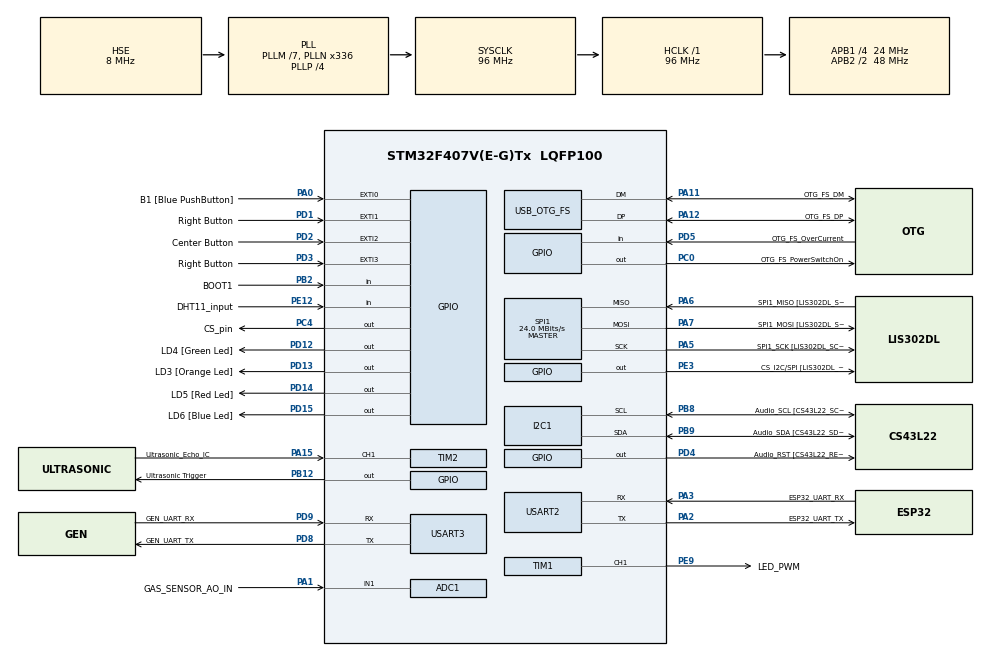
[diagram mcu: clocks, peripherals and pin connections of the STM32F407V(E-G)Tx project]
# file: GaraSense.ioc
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ADC1.Channel-0\#ChannelRegularConversion=ADC_CHANNEL_1
ADC1.NbrOfConversionFlag=1
ADC1.Rank-0\#ChannelRegularConversion=1
ADC1.SamplingTime-0\#ChannelRegularConversion=ADC_SAMPLETIME_3CYCLES
ADC1.master=1
Dma.ADC1.0.Direction=DMA_PERIPH_TO_MEMORY
Dma.ADC1.0.FIFOMode=DMA_FIFOMODE_DISABLE
Dma.ADC1.0.Instance=DMA2_Stream0
Dma.ADC1.0.MemDataAlignment=DMA_MDATAALIGN_HALFWORD
Dma.ADC1.0.MemInc=DMA_MINC_ENABLE
Dma.ADC1.0.Mode=DMA_NORMAL
Dma.ADC1.0.PeriphDataAlignment=DMA_PDATAALIGN_HALFWORD
Dma.ADC1.0.PeriphInc=DMA_PINC_DISABLE
Dma.ADC1.0.Priority=DMA_PRIORITY_LOW
Dma.Request0=ADC1
Dma.Request1=USART3_TX
Dma.Request2=TIM1_CH1
Dma.TIM1_CH1.2.Direction=DMA_MEMORY_TO_PERIPH
Dma.TIM1_CH1.2.FIFOMode=DMA_FIFOMODE_DISABLE
Dma.TIM1_CH1.2.Instance=DMA2_Stream1
Dma.TIM1_CH1.2.MemDataAlignment=DMA_MDATAALIGN_HALFWORD
Dma.TIM1_CH1.2.MemInc=DMA_MINC_ENABLE
Dma.TIM1_CH1.2.Mode=DMA_NORMAL
Dma.TIM1_CH1.2.PeriphDataAlignment=DMA_PDATAALIGN_HALFWORD
Dma.TIM1_CH1.2.PeriphInc=DMA_PINC_DISABLE
Dma.TIM1_CH1.2.Priority=DMA_PRIORITY_MEDIUM
Dma.USART3_TX.1.Direction=DMA_MEMORY_TO_PERIPH
Dma.USART3_TX.1.FIFOMode=DMA_FIFOMODE_DISABLE
Dma.USART3_TX.1.Instance=DMA1_Stream3
Dma.USART3_TX.1.MemDataAlignment=DMA_MDATAALIGN_BYTE
Dma.USART3_TX.1.MemInc=DMA_MINC_ENABLE
Dma.USART3_TX.1.Mode=DMA_NORMAL
Dma.USART3_TX.1.PeriphDataAlignment=DMA_PDATAALIGN_BYTE
Dma.USART3_TX.1.PeriphInc=DMA_PINC_DISABLE
Dma.USART3_TX.1.Priority=DMA_PRIORITY_LOW
FATFS._MAX_SS=4096
FATFS._USE_LFN=3
FREERTOS.Queues01=DistanceQueue,16,Event,0,Static,DistanceQueueBuffer,DistanceQueueControlBlock;EnvMonitorQueue,16,Event,0,Static,EnvMonitorQueueBuffer,EnvMonitorQueueControlBlock;DataLoggerQueue,20,Event,0,Static,DataLoggerQueueBuffer,DataLoggerQueueControlBlock;DisplayQueue,30,Event,0,Static,DisplayQueueBuffer,DisplayQueueControlBlock;BrokerQueue,30,Event,0,Static,BrokerQueueBuffer,BrokerQueueControlBlock
FREERTOS.Tasks01=DistanceSensor,24,1024,StartDistanceSensor,Default,NULL,Static,DistanceSensorBuffer,DistanceSensorControlBlock;EnvMonitor,24,256,StartEnvMonitor,Default,NULL,Static,EnvMonitorBuffer,EnvMonitorControlBlock;DataLogger,24,1024,StartDataLogger,Default,NULL,Static,DataLoggerBuffer,DataLoggerControlBlock;Display,24,512,StartDisplay,Default,NULL,Static,DisplayBuffer,DisplayControlBlock;Broker,24,256,StartBroker,Default,NULL,Static,BrokerBuffer,BrokerControlBlock;Sysmonitor,24,128,StartMonitor,Default,NULL,Dynamic,NULL,NULL
FREERTOS.Timers01=logTimer,LogTimerCallback,osTimerPeriodic,Default,NULL,Dynamic,NULL;deleteTimer,DeleteLogCallback,osTimerPeriodic,Default,NULL,Dynamic,NULL;readEnvTimer,readEnvTimerCallback,osTimerPeriodic,Default,NULL,Dynamic,NULL;updateDisplayTimer,updateDisplayTimerCallback,osTimerPeriodic,Default,NULL,Dynamic,NULL
Mcu.Family=STM32F4
Mcu.Name=STM32F407V(E-G)Tx
Mcu.Package=LQFP100
NVIC.DMA1_Stream3_IRQn=true\:5\:0\:false\:false\:true\:true\:false\:true\:true
NVIC.DMA2_Stream0_IRQn=true\:5\:0\:false\:false\:true\:true\:false\:true\:true
NVIC.DMA2_Stream1_IRQn=true\:5\:0\:false\:false\:true\:true\:false\:true\:true
NVIC.EXTI1_IRQn=true\:5\:0\:false\:false\:true\:true\:true\:true\:true
NVIC.EXTI2_IRQn=true\:5\:0\:false\:false\:true\:true\:true\:true\:true
NVIC.EXTI3_IRQn=true\:5\:0\:false\:false\:true\:true\:true\:true\:true
NVIC.OTG_FS_IRQn=true\:5\:0\:false\:false\:true\:true\:false\:true\:true
NVIC.PriorityGroup=NVIC_PRIORITYGROUP_4
NVIC.TIM2_IRQn=true\:5\:0\:false\:false\:true\:true\:true\:true\:true
NVIC.TIM3_IRQn=true\:5\:0\:false\:false\:true\:true\:true\:true\:true
NVIC.USART3_IRQn=true\:5\:0\:false\:false\:true\:true\:true\:true\:true
PA0-WKUP.GPIO_Label=B1 [Blue PushButton]
PA0-WKUP.Signal=GPXTI0
PA1.GPIO_Label=GAS_SENSOR_AO_IN
PA1.Signal=ADCx_IN1
PA10.GPIO_Label=OTG_FS_ID
PA10.GPIO_Mode=GPIO_MODE_AF_PP
PA10.GPIO_PuPd=GPIO_NOPULL
PA10.GPIO_Speed=GPIO_SPEED_FREQ_LOW
PA10.Signal=USB_OTG_FS_ID
PA11.GPIO_Label=OTG_FS_DM
PA11.GPIO_Mode=GPIO_MODE_AF_PP
PA11.GPIO_PuPd=GPIO_NOPULL
PA11.GPIO_Speed=GPIO_SPEED_FREQ_LOW
PA11.Mode=Device_Only
PA11.Signal=USB_OTG_FS_DM
PA12.GPIO_Label=OTG_FS_DP
PA12.GPIO_Mode=GPIO_MODE_AF_PP
PA12.GPIO_PuPd=GPIO_NOPULL
PA12.GPIO_Speed=GPIO_SPEED_FREQ_LOW
PA12.Mode=Device_Only
PA12.Signal=USB_OTG_FS_DP
PA13.GPIO_Label=SWDIO
PA13.Mode=Trace_Asynchronous_SW
PA13.Signal=SYS_JTMS-SWDIO
PA14.GPIO_Label=SWCLK
PA14.Mode=Trace_Asynchronous_SW
PA14.Signal=SYS_JTCK-SWCLK
PA15.GPIO_Label=Ultrasonic_Echo_IC
PA15.Signal=S_TIM2_CH1_ETR
PA2.GPIO_Label=ESP32_UART_TX
PA2.Mode=Asynchronous
PA2.Signal=USART2_TX
PA3.GPIO_Label=ESP32_UART_RX
PA3.Mode=Asynchronous
PA3.Signal=USART2_RX
PA4.GPIO_Label=I2S3_WS [CS43L22_LRCK]
PA4.GPIO_Mode=GPIO_MODE_AF_PP
PA4.GPIO_PuPd=GPIO_NOPULL
PA4.GPIO_Speed=GPIO_SPEED_FREQ_LOW
PA4.Signal=I2S3_WS
PA5.GPIO_Label=SPI1_SCK [LIS302DL_SCL/SPC]
PA5.GPIO_Mode=GPIO_MODE_AF_PP
PA5.GPIO_PuPd=GPIO_NOPULL
PA5.GPIO_Speed=GPIO_SPEED_FREQ_LOW
PA5.Mode=Full_Duplex_Master
PA5.Signal=SPI1_SCK
PA6.GPIO_Label=SPI1_MISO [LIS302DL_SDO]
PA6.GPIO_Mode=GPIO_MODE_AF_PP
PA6.GPIO_PuPd=GPIO_NOPULL
PA6.GPIO_Speed=GPIO_SPEED_FREQ_LOW
PA6.Mode=Full_Duplex_Master
PA6.Signal=SPI1_MISO
PA7.GPIO_Label=SPI1_MOSI [LIS302DL_SDA/SDI/SDO]
PA7.GPIO_Mode=GPIO_MODE_AF_PP
PA7.GPIO_PuPd=GPIO_NOPULL
PA7.GPIO_Speed=GPIO_SPEED_FREQ_LOW
PA7.Mode=Full_Duplex_Master
PA7.Signal=SPI1_MOSI
PA9.GPIO_Label=VBUS_FS
PA9.GPIO_Mode=GPIO_MODE_INPUT
PA9.GPIO_PuPd=GPIO_NOPULL
PA9.Signal=USB_OTG_FS_VBUS
PB10.GPIO_Label=CLK_IN [MP45DT02_CLK]
PB10.GPIO_Mode=GPIO_MODE_AF_PP
PB10.GPIO_PuPd=GPIO_NOPULL
PB10.GPIO_Speed=GPIO_SPEED_FREQ_LOW
PB10.Signal=I2S2_CK
PB12.GPIO_Label=Ultrasonic Trigger
PB12.Signal=GPIO_Output
PB2.GPIO_Label=BOOT1
PB2.GPIO_Mode=GPIO_MODE_INPUT
PB2.GPIO_PuPd=GPIO_NOPULL
PB2.Signal=GPIO_Input
PB3.GPIO_Label=SWO
PB3.Mode=Trace_Asynchronous_SW
PB3.Signal=SYS_JTDO-SWO
PB8.GPIO_Label=Audio_SCL [CS43L22_SCL]
PB8.GPIO_Mode=GPIO_MODE_AF_OD
PB8.GPIO_Speed=GPIO_SPEED_FREQ_LOW
PB8.Mode=I2C
PB8.Signal=I2C1_SCL
PB9.GPIO_Label=Audio_SDA [CS43L22_SDA]
PB9.GPIO_Mode=GPIO_MODE_AF_OD
PB9.GPIO_Speed=GPIO_SPEED_FREQ_LOW
PB9.Mode=I2C
PB9.Signal=I2C1_SDA
PC0.GPIO_Label=OTG_FS_PowerSwitchOn
PC0.GPIO_PuPd=GPIO_NOPULL
PC0.GPIO_Speed=GPIO_SPEED_FREQ_LOW
PC0.PinState=GPIO_PIN_SET
PC0.Signal=GPIO_Output
PC10.GPIO_Label=I2S3_SCK [CS43L22_SCLK]
PC10.GPIO_Mode=GPIO_MODE_AF_PP
PC10.GPIO_PuPd=GPIO_NOPULL
PC10.GPIO_Speed=GPIO_SPEED_FREQ_LOW
PC10.Signal=I2S3_CK
PC12.GPIO_Label=I2S3_SD [CS43L22_SDIN]
PC12.GPIO_Mode=GPIO_MODE_AF_PP
PC12.GPIO_PuPd=GPIO_NOPULL
PC12.GPIO_Speed=GPIO_SPEED_FREQ_LOW
PC12.Signal=I2S3_SD
PC14-OSC32_IN.GPIO_Label=PC14-OSC32_IN
PC14-OSC32_IN.Signal=RCC_OSC32_IN
PC15-OSC32_OUT.GPIO_Label=PC15-OSC32_OUT
PC15-OSC32_OUT.Signal=RCC_OSC32_OUT
PC3.GPIO_Label=PDM_OUT [MP45DT02_DOUT]
PC3.GPIO_Mode=GPIO_MODE_AF_PP
PC3.GPIO_PuPd=GPIO_NOPULL
PC3.GPIO_Speed=GPIO_SPEED_FREQ_LOW
PC3.Signal=I2S2_SD
PC4.GPIO_Label=CS_pin
PC4.Signal=GPIO_Output
PC7.GPIO_Label=I2S3_MCK [CS43L22_MCLK]
PC7.GPIO_Mode=GPIO_MODE_AF_PP
PC7.GPIO_PuPd=GPIO_NOPULL
PC7.GPIO_Speed=GPIO_SPEED_FREQ_LOW
PC7.Signal=I2S3_MCK
PD1.GPIO_Label=Right Button
PD1.GPIO_PuPd=GPIO_PULLUP
PD1.Signal=GPXTI1
PD12.GPIO_Label=LD4 [Green Led]
PD12.GPIO_PuPd=GPIO_NOPULL
PD12.GPIO_Speed=GPIO_SPEED_FREQ_LOW
PD12.Signal=GPIO_Output
PD13.GPIO_Label=LD3 [Orange Led]
PD13.GPIO_PuPd=GPIO_NOPULL
PD13.GPIO_Speed=GPIO_SPEED_FREQ_LOW
PD13.Signal=GPIO_Output
PD14.GPIO_Label=LD5 [Red Led]
PD14.GPIO_PuPd=GPIO_NOPULL
PD14.GPIO_Speed=GPIO_SPEED_FREQ_LOW
PD14.Signal=GPIO_Output
PD15.GPIO_Label=LD6 [Blue Led]
PD15.GPIO_PuPd=GPIO_NOPULL
PD15.GPIO_Speed=GPIO_SPEED_FREQ_LOW
PD15.Signal=GPIO_Output
PD2.GPIO_Label=Center Button
PD2.GPIO_PuPd=GPIO_PULLUP
PD2.Signal=GPXTI2
PD3.GPIO_Label=Right Button
PD3.GPIO_PuPd=GPIO_PULLUP
PD3.Signal=GPXTI3
PD4.GPIO_Label=Audio_RST [CS43L22_RESET]
PD4.GPIO_PuPd=GPIO_NOPULL
PD4.GPIO_Speed=GPIO_SPEED_FREQ_LOW
PD4.Signal=GPIO_Output
PD5.GPIO_Label=OTG_FS_OverCurrent
PD5.GPIO_Mode=GPIO_MODE_INPUT
PD5.GPIO_PuPd=GPIO_NOPULL
PD5.Signal=GPIO_Input
PD8.GPIO_Label=GEN_UART_TX
PD8.Mode=Asynchronous
PD8.Signal=USART3_TX
PD9.GPIO_Label=GEN_UART_RX
PD9.Mode=Asynchronous
PD9.Signal=USART3_RX
PE12.GPIO_Label=DHT11_input
PE12.Signal=GPIO_Input
PE3.GPIO_Label=CS_I2C/SPI [LIS302DL_CS_I2C/SPI]
PE3.GPIO_PuPd=GPIO_NOPULL
PE3.GPIO_Speed=GPIO_SPEED_FREQ_LOW
PE3.Signal=GPIO_Output
PE9.GPIO_Label=LED_PWM
PE9.Signal=S_TIM1_CH1
PH0-OSC_IN.GPIO_Label=PH0-OSC_IN
PH0-OSC_IN.Mode=HSE-External-Oscillator
PH0-OSC_IN.Signal=RCC_OSC_IN
PH1-OSC_OUT.GPIO_Label=PH1-OSC_OUT
PH1-OSC_OUT.Mode=HSE-External-Oscillator
PH1-OSC_OUT.Signal=RCC_OSC_OUT
ProjectManager.HeapSize=0x200
ProjectManager.StackSize=0x400
ProjectManager.TargetToolchain=STM32CubeIDE
RCC.48MHZClocksFreq_Value=48000000.00000001
RCC.AHBFreq_Value=96000000.00000001
RCC.APB1CLKDivider=RCC_HCLK_DIV4
RCC.APB1Freq_Value=24000000.000000004
RCC.APB1TimFreq_Value=48000000.00000001
RCC.APB2CLKDivider=RCC_HCLK_DIV2
RCC.APB2Freq_Value=48000000.00000001
RCC.APB2TimFreq_Value=96000000.00000001
RCC.CortexFreq_Value=96000000.00000001
RCC.HCLKFreq_Value=96000000.00000001
RCC.HSE_VALUE=8000000
RCC.HSI_VALUE=16000000
RCC.LSE_VALUE=32768
RCC.PLLM=7
RCC.PLLN=336
RCC.PLLP=RCC_PLLP_DIV4
RCC.PLLQ=8
RCC.SYSCLKFreq_VALUE=96000000.00000001
RCC.SYSCLKSource=RCC_SYSCLKSOURCE_PLLCLK
RCC.VCOOutputFreq_Value=384000000.00000006
SH.ADCx_IN1.0=ADC1_IN1,IN1
SH.S_TIM1_CH1.0=TIM1_CH1,PWM Generation1 CH1
SH.S_TIM2_CH1_ETR.0=TIM2_CH1,Input_Capture1_from_TI1
SPI1.CalculateBaudRate=24.0 MBits/s
SPI1.Direction=SPI_DIRECTION_2LINES
SPI1.Mode=SPI_MODE_MASTER
SPI1.VirtualType=VM_MASTER
TIM1.AutoReloadPreload=TIM_AUTORELOAD_PRELOAD_ENABLE
TIM1.Channel-PWM\ Generation1\ CH1=TIM_CHANNEL_1
TIM1.Period=124
TIM2.Channel-Input_Capture1_from_TI1=TIM_CHANNEL_1
TIM2.Period=65535
TIM3.Period=49999
TIM3.Prescaler=49
USART2.VirtualMode=VM_ASYNC
USART3.VirtualMode=VM_ASYNC
USB_DEVICE.CLASS_NAME_FS=CDC
USB_DEVICE.VirtualMode-CDC_FS=Cdc
USB_DEVICE.VirtualModeFS=Cdc_FS
USB_OTG_FS.VirtualMode=Device_Only
VP_FATFS_VS_Generic.Mode=User_defined
VP_FREERTOS_VS_CMSIS_V2.Mode=CMSIS_V2
VP_TIM2_VS_ClockSourceINT.Mode=Internal
VP_TIM3_VS_ClockSourceINT.Mode=Internal
VP_USB_DEVICE_VS_USB_DEVICE_CDC_FS.Mode=CDC_FS
board=STM32F407G-DISC1

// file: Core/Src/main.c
/* USER CODE BEGIN Header */
/**
  ******************************************************************************
  * @file           : main.c
  * @brief          : Main program body
  ******************************************************************************
  * @attention
  *
  * Copyright (c) 2025 STMicroelectronics.
  * All rights reserved.
  *
  * This software is licensed under terms that can be found in the LICENSE file
  * in the root directory of this software component.
  * If no LICENSE file comes with this software, it is provided AS-IS.
  *
  ******************************************************************************
  */
/* USER CODE END Header */
#include "main.h"
#include "cmsis_os.h"
#include "fatfs.h"
#include "usb_device.h"

/* USER CODE BEGIN Includes */
#include "../../Application/Inc/ao.h"
#include "../../Application/Inc/ao_broker.h"
#include "../../Application/Inc/ao_display.h"
#include "../../Application/Inc/ao_distance.h"
#include "../../Application/Inc/ao_env.h"
#include "../../Application/Inc/ao_logger.h"
/* USER CODE END Includes */

typedef StaticTask_t osStaticThreadDef_t;
typedef StaticQueue_t osStaticMessageQDef_t;

/* USER CODE BEGIN PD */
#define DEBOUNCE_MS 20
/* USER CODE END PD */

ADC_HandleTypeDef hadc1;
DMA_HandleTypeDef hdma_adc1;

I2C_HandleTypeDef hi2c1;

SPI_HandleTypeDef hspi1;

TIM_HandleTypeDef htim1;
TIM_HandleTypeDef htim2;
TIM_HandleTypeDef htim3;
DMA_HandleTypeDef hdma_tim1_ch1;

UART_HandleTypeDef huart2;
UART_HandleTypeDef huart3;
DMA_HandleTypeDef hdma_usart3_tx;

/* Definitions for DistanceSensor */
osThreadId_t DistanceSensorHandle;
uint32_t DistanceSensorBuffer[ 1024 ];
osStaticThreadDef_t DistanceSensorControlBlock;
const osThreadAttr_t DistanceSensor_attributes = {
  .name = "DistanceSensor",
  .cb_mem = &DistanceSensorControlBlock,
  .cb_size = sizeof(DistanceSensorControlBlock),
  .stack_mem = &DistanceSensorBuffer[0],
  .stack_size = sizeof(DistanceSensorBuffer),
  .priority = (osPriority_t) osPriorityNormal,
};
/* Definitions for EnvMonitor */
osThreadId_t EnvMonitorHandle;
uint32_t EnvMonitorBuffer[ 256 ];
osStaticThreadDef_t EnvMonitorControlBlock;
const osThreadAttr_t EnvMonitor_attributes = {
  .name = "EnvMonitor",
  .cb_mem = &EnvMonitorControlBlock,
  .cb_size = sizeof(EnvMonitorControlBlock),
  .stack_mem = &EnvMonitorBuffer[0],
  .stack_size = sizeof(EnvMonitorBuffer),
  .priority = (osPriority_t) osPriorityNormal,
};
/* Definitions for DataLogger */
osThreadId_t DataLoggerHandle;
uint32_t DataLoggerBuffer[ 1024 ];
osStaticThreadDef_t DataLoggerControlBlock;
const osThreadAttr_t DataLogger_attributes = {
  .name = "DataLogger",
  .cb_mem = &DataLoggerControlBlock,
  .cb_size = sizeof(DataLoggerControlBlock),
  .stack_mem = &DataLoggerBuffer[0],
  .stack_size = sizeof(DataLoggerBuffer),
  .priority = (osPriority_t) osPriorityNormal,
};
/* Definitions for Display */
osThreadId_t DisplayHandle;
uint32_t DisplayBuffer[ 512 ];
osStaticThreadDef_t DisplayControlBlock;
const osThreadAttr_t Display_attributes = {
  .name = "Display",
  .cb_mem = &DisplayControlBlock,
  .cb_size = sizeof(DisplayControlBlock),
  .stack_mem = &DisplayBuffer[0],
  .stack_size = sizeof(DisplayBuffer),
  .priority = (osPriority_t) osPriorityNormal,
};
/* Definitions for Broker */
osThreadId_t BrokerHandle;
uint32_t BrokerBuffer[ 256 ];
osStaticThreadDef_t BrokerControlBlock;
const osThreadAttr_t Broker_attributes = {
  .name = "Broker",
  .cb_mem = &BrokerControlBlock,
  .cb_size = sizeof(BrokerControlBlock),
  .stack_mem = &BrokerBuffer[0],
  .stack_size = sizeof(BrokerBuffer),
  .priority = (osPriority_t) osPriorityNormal,
};
/* Definitions for Sysmonitor */
osThreadId_t SysmonitorHandle;
const osThreadAttr_t Sysmonitor_attributes = {
  .name = "Sysmonitor",
  .stack_size = 128 * 4,
  .priority = (osPriority_t) osPriorityNormal,
};
/* Definitions for DistanceQueue */
osMessageQueueId_t DistanceQueueHandle;
uint8_t DistanceQueueBuffer[ 16 * sizeof( Event ) ];
osStaticMessageQDef_t DistanceQueueControlBlock;
const osMessageQueueAttr_t DistanceQueue_attributes = {
  .name = "DistanceQueue",
  .cb_mem = &DistanceQueueControlBlock,
  .cb_size = sizeof(DistanceQueueControlBlock),
  .mq_mem = &DistanceQueueBuffer,
  .mq_size = sizeof(DistanceQueueBuffer)
};
/* Definitions for EnvMonitorQueue */
osMessageQueueId_t EnvMonitorQueueHandle;
uint8_t EnvMonitorQueueBuffer[ 16 * sizeof( Event ) ];
osStaticMessageQDef_t EnvMonitorQueueControlBlock;
const osMessageQueueAttr_t EnvMonitorQueue_attributes = {
  .name = "EnvMonitorQueue",
  .cb_mem = &EnvMonitorQueueControlBlock,
  .cb_size = sizeof(EnvMonitorQueueControlBlock),
  .mq_mem = &EnvMonitorQueueBuffer,
  .mq_size = sizeof(EnvMonitorQueueBuffer)
};
/* Definitions for DataLoggerQueue */
osMessageQueueId_t DataLoggerQueueHandle;
uint8_t DataLoggerQueueBuffer[ 20 * sizeof( Event ) ];
osStaticMessageQDef_t DataLoggerQueueControlBlock;
const osMessageQueueAttr_t DataLoggerQueue_attributes = {
  .name = "DataLoggerQueue",
  .cb_mem = &DataLoggerQueueControlBlock,
  .cb_size = sizeof(DataLoggerQueueControlBlock),
  .mq_mem = &DataLoggerQueueBuffer,
  .mq_size = sizeof(DataLoggerQueueBuffer)
};
/* Definitions for DisplayQueue */
osMessageQueueId_t DisplayQueueHandle;
uint8_t DisplayQueueBuffer[ 30 * sizeof( Event ) ];
osStaticMessageQDef_t DisplayQueueControlBlock;
const osMessageQueueAttr_t DisplayQueue_attributes = {
  .name = "DisplayQueue",
  .cb_mem = &DisplayQueueControlBlock,
  .cb_size = sizeof(DisplayQueueControlBlock),
  .mq_mem = &DisplayQueueBuffer,
  .mq_size = sizeof(DisplayQueueBuffer)
};
/* Definitions for BrokerQueue */
osMessageQueueId_t BrokerQueueHandle;
uint8_t BrokerQueueBuffer[ 30 * sizeof( Event ) ];
osStaticMessageQDef_t BrokerQueueControlBlock;
const osMessageQueueAttr_t BrokerQueue_attributes = {
  .name = "BrokerQueue",
  .cb_mem = &BrokerQueueControlBlock,
  .cb_size = sizeof(BrokerQueueControlBlock),
  .mq_mem = &BrokerQueueBuffer,
  .mq_size = sizeof(BrokerQueueBuffer)
};
/* Definitions for logTimer */
osTimerId_t logTimerHandle;
const osTimerAttr_t logTimer_attributes = {
  .name = "logTimer"
};
/* Definitions for deleteTimer */
osTimerId_t deleteTimerHandle;
const osTimerAttr_t deleteTimer_attributes = {
  .name = "deleteTimer"
};
/* Definitions for readEnvTimer */
osTimerId_t readEnvTimerHandle;
const osTimerAttr_t readEnvTimer_attributes = {
  .name = "readEnvTimer"
};
/* Definitions for updateDisplayTimer */
osTimerId_t updateDisplayTimerHandle;
const osTimerAttr_t updateDisplayTimer_attributes = {
  .name = "updateDisplayTimer"
};

void SystemClock_Config(void);
static void MX_GPIO_Init(void);
static void MX_DMA_Init(void);
static void MX_ADC1_Init(void);
static void MX_I2C1_Init(void);
static void MX_USART3_UART_Init(void);
static void MX_TIM1_Init(void);
static void MX_TIM2_Init(void);
static void MX_SPI1_Init(void);
static void MX_TIM3_Init(void);
static void MX_USART2_UART_Init(void);
void StartDistanceSensor(void *argument);
void StartEnvMonitor(void *argument);
void StartDataLogger(void *argument);
void StartDisplay(void *argument);
void StartBroker(void *argument);
void StartMonitor(void *argument);
void LogTimerCallback(void *argument);
void DeleteLogCallback(void *argument);
void readEnvTimerCallback(void *argument);
void updateDisplayTimerCallback(void *argument);

/* USER CODE BEGIN 0 */

char TxBuffer[TX_BUFFER_SIZE];
volatile uint8_t tx_busy = 0;

static uint32_t last_press_ms = 0;

Broker broker;
Display display;
DistanceSensor distance;
EnvMonitor envmonitor;
DataLogger logger;

void HAL_UART_TxCpltCallback(UART_HandleTypeDef *huart)
{
    if (huart->Instance == USART3)
    {
    	tx_busy = 0;
    }
}

void HAL_SPI_TxCpltCallback(SPI_HandleTypeDef *hspi){
	HAL_SPI_DMAStop(hspi);
}

void HAL_GPIO_EXTI_Callback(uint16_t GPIO_Pin){
	uint32_t now = osKernelGetTickCount();

	if((now - last_press_ms) >= DEBOUNCE_MS){
		last_press_ms = now;
		Event buttonEvt;
		switch(GPIO_Pin){
			case Right_Button_Pin:
				if (HAL_GPIO_ReadPin(GPIOD, GPIO_Pin) == GPIO_PIN_RESET) {
					buttonEvt.eventsig = RIGHT_BUTTON_EVT;
					buttonEvt.dest = DISPLAY;
				}

				break;
			case Right_ButtonD3_Pin:
				if (HAL_GPIO_ReadPin(GPIOD, GPIO_Pin) == GPIO_PIN_RESET) {
					buttonEvt.eventsig = LEFT_BUTTON_EVT;
					buttonEvt.dest     = DISPLAY;
				//left
				}
				break;
			case Center_Button_Pin:
				if (HAL_GPIO_ReadPin(GPIOD, GPIO_Pin) == GPIO_PIN_RESET) {
					buttonEvt.eventsig = CONFIRM_BUTTON_EVT;
					buttonEvt.dest     = DISPLAY;
				}
				break;
			default:
				return;
		}
		Active_post(&broker.super, &buttonEvt);
	}

}

void HAL_TIM_IC_CaptureCallback(TIM_HandleTypeDef *htim){
	if (htim->Instance == TIM2){
      HCSR04_TMR_IC_ISR(htim);
      Event distEvt = {.eventsig = UPDATE_LED, .dest = DIST_SENSOR};
      Active_post(&broker.super, &distEvt);
	 }
  }

void HAL_TIM_PeriodElapsedCallback(TIM_HandleTypeDef* htim){
	 if (htim->Instance == TIM2) {
	        HCSR04_TMR_OVF_ISR(htim);
	} else if (htim->Instance == TIM3) {
		HCSR04_Trigger(HCSR04_SENSOR1);
	}

}

void HAL_TIM_PWM_PulseFinishedCallback(TIM_HandleTypeDef *htim)
{
    if (htim->Instance == TIM1) {
        HAL_TIM_PWM_Stop_DMA(htim, TIM_CHANNEL_1);
    }
}

void HAL_ADC_ConvCpltCallback(ADC_HandleTypeDef* hadc)
{
	 if (hadc->Instance == ADC1)
	    {
		 MQ135_AverageRaw();

	        // Stop DMA after one block
	        HAL_ADC_Stop_DMA(hadc);
	    }
}

///* LogTimerCallback function */
//void LogTimerCallback(void *argument)
//{
//	Event envEvt = {.eventsig = SENSOR_TIMER, .dest = ENV_MONITOR};
//	Active_post(&broker.super, &envEvt);
//	Event tempEvt = {.eventsig = SENSOR_TIMER, .dest = DIST_SENSOR};
//	Active_post(&broker.super, &tempEvt);
//}
//
///* DeleteLogCallback function */
//void DeleteLogCallback(void *argument)
//{
//	Event e = {.eventsig = DELETE_LOG, .dest = DATA_LOGGER};
//	Active_post(&broker.super, &e);
//}

/* readEnvTimerCallback function */
void readEnvTimerCallback(void *argument)
{

	Event tempEvt = {.eventsig = TEMP_REQ, .dest = ENV_MONITOR};
	Active_post(&broker.super, &tempEvt);
	Event ppmEvt = {.eventsig = PPM_REQ, .dest = ENV_MONITOR};
	Active_post(&broker.super, &ppmEvt);

}

/* updateDisplayTimerCallback function */
void updateDisplayTimerCallback(void *argument)
{
	Event distEvt = {.eventsig = DIST_REQ, .dest = DIST_SENSOR};
	Active_post(&broker.super, &distEvt);
}

static void App_TimerInit(osTimerId_t timerHandle,uint32_t ticks){
	osTimerStart(timerHandle,ticks);
}

/* USER CODE END 0 */

int main(void)
{

  /* MCU Configuration--------------------------------------------------------*/

  /* Reset of all peripherals, Initializes the Flash interface and the Systick. */
  HAL_Init();

  /* Configure the system clock */
  SystemClock_Config();

  /* Initialize all configured peripherals */
  MX_GPIO_Init();
  MX_DMA_Init();
  MX_ADC1_Init();
  MX_I2C1_Init();
  MX_USART3_UART_Init();
  MX_TIM1_Init();
  MX_TIM2_Init();
  MX_SPI1_Init();
  MX_FATFS_Init();
  MX_TIM3_Init();
  MX_USART2_UART_Init();
  /* USER CODE BEGIN 2 */

  HAL_TIM_Base_Start_IT(&htim3);

  /* USER CODE END 2 */

  /* Init scheduler */
  osKernelInitialize();

  /* Create the timer(s) */
  /* creation of logTimer */
//  logTimerHandle = osTimerNew(LogTimerCallback, osTimerPeriodic, NULL, &logTimer_attributes);

  /* creation of deleteTimer */
//  deleteTimerHandle = osTimerNew(DeleteLogCallback, osTimerPeriodic, NULL, &deleteTimer_attributes);

  /* creation of readEnvTimer */
  readEnvTimerHandle = osTimerNew(readEnvTimerCallback, osTimerPeriodic, NULL, &readEnvTimer_attributes);

  /* creation of updateDisplayTimer */
  updateDisplayTimerHandle = osTimerNew(updateDisplayTimerCallback, osTimerPeriodic, NULL, &updateDisplayTimer_attributes);

  /* Create the queue(s) */
  /* creation of DistanceQueue */
  DistanceQueueHandle = osMessageQueueNew (16, sizeof(Event), &DistanceQueue_attributes);

  /* creation of EnvMonitorQueue */
  EnvMonitorQueueHandle = osMessageQueueNew (16, sizeof(Event), &EnvMonitorQueue_attributes);

  /* creation of DataLoggerQueue */
//  DataLoggerQueueHandle = osMessageQueueNew (20, sizeof(Event), &DataLoggerQueue_attributes);

  /* creation of DisplayQueue */
  DisplayQueueHandle = osMessageQueueNew (30, sizeof(Event), &DisplayQueue_attributes);

  /* creation of BrokerQueue */
  BrokerQueueHandle = osMessageQueueNew (30, sizeof(Event), &BrokerQueue_attributes);

  /* Create the thread(s) */

  /* creation of Sysmonitor */
  SysmonitorHandle = osThreadNew(StartMonitor, NULL, &Sysmonitor_attributes);

  /* USER CODE BEGIN RTOS_THREADS */

  	Broker_Init(&broker);
    Active_start(&broker.super, &Broker_attributes, BrokerQueueHandle);

    Display_Init(&display);
	Active_start(&display.super, &Display_attributes, DisplayQueueHandle);

	DistanceSensor_Init(&distance);
	Active_start(&distance.super, &DistanceSensor_attributes, DistanceQueueHandle);

	EnvMonitor_Init(&envmonitor);
	Active_start(&envmonitor.super, &EnvMonitor_attributes, EnvMonitorQueueHandle);

//	DataLogger_Init(&logger);
//	Active_start(&logger.super, &DataLogger_attributes, DataLoggerQueueHandle);
//
//	App_TimerInit(logTimerHandle,600000);
//	App_TimerInit(deleteTimerHandle,1800000);
	App_TimerInit(readEnvTimerHandle,100);
	App_TimerInit(updateDisplayTimerHandle,50);

  /* USER CODE END RTOS_THREADS */

  /* Start scheduler */
  osKernelStart();

  /* We should never get here as control is now taken by the scheduler */

  /* Infinite loop */
  while (1)
  {

  }
}

void SystemClock_Config(void)
{
  RCC_OscInitTypeDef RCC_OscInitStruct = {0};
  RCC_ClkInitTypeDef RCC_ClkInitStruct = {0};

  /** Configure the main internal regulator output voltage
  */
  __HAL_RCC_PWR_CLK_ENABLE();
  __HAL_PWR_VOLTAGESCALING_CONFIG(PWR_REGULATOR_VOLTAGE_SCALE1);

  /** Initializes the RCC Oscillators according to the specified parameters
  * in the RCC_OscInitTypeDef structure.
  */
  RCC_OscInitStruct.OscillatorType = RCC_OSCILLATORTYPE_HSE;
  RCC_OscInitStruct.HSEState = RCC_HSE_ON;
  RCC_OscInitStruct.PLL.PLLState = RCC_PLL_ON;
  RCC_OscInitStruct.PLL.PLLSource = RCC_PLLSOURCE_HSE;
  RCC_OscInitStruct.PLL.PLLM = 7;
  RCC_OscInitStruct.PLL.PLLN = 336;
  RCC_OscInitStruct.PLL.PLLP = RCC_PLLP_DIV4;
  RCC_OscInitStruct.PLL.PLLQ = 8;
  if (HAL_RCC_OscConfig(&RCC_OscInitStruct) != HAL_OK)
  {
    Error_Handler();
  }

  /** Initializes the CPU, AHB and APB buses clocks
  */
  RCC_ClkInitStruct.ClockType = RCC_CLOCKTYPE_HCLK|RCC_CLOCKTYPE_SYSCLK
                              |RCC_CLOCKTYPE_PCLK1|RCC_CLOCKTYPE_PCLK2;
  RCC_ClkInitStruct.SYSCLKSource = RCC_SYSCLKSOURCE_PLLCLK;
  RCC_ClkInitStruct.AHBCLKDivider = RCC_SYSCLK_DIV1;
  RCC_ClkInitStruct.APB1CLKDivider = RCC_HCLK_DIV4;
  RCC_ClkInitStruct.APB2CLKDivider = RCC_HCLK_DIV2;

  if (HAL_RCC_ClockConfig(&RCC_ClkInitStruct, FLASH_LATENCY_3) != HAL_OK)
  {
    Error_Handler();
  }
}

static void MX_ADC1_Init(void)
{

  ADC_ChannelConfTypeDef sConfig = {0};

  /** Configure the global features of the ADC (Clock, Resolution, Data Alignment and number of conversion)
  */
  hadc1.Instance = ADC1;
  hadc1.Init.ClockPrescaler = ADC_CLOCK_SYNC_PCLK_DIV2;
  hadc1.Init.Resolution = ADC_RESOLUTION_12B;
  hadc1.Init.ScanConvMode = DISABLE;
  hadc1.Init.ContinuousConvMode = DISABLE;
  hadc1.Init.DiscontinuousConvMode = DISABLE;
  hadc1.Init.ExternalTrigConvEdge = ADC_EXTERNALTRIGCONVEDGE_NONE;
  hadc1.Init.ExternalTrigConv = ADC_SOFTWARE_START;
  hadc1.Init.DataAlign = ADC_DATAALIGN_RIGHT;
  hadc1.Init.NbrOfConversion = 1;
  hadc1.Init.DMAContinuousRequests = DISABLE;
  hadc1.Init.EOCSelection = ADC_EOC_SINGLE_CONV;
  if (HAL_ADC_Init(&hadc1) != HAL_OK)
  {
    Error_Handler();
  }

  /** Configure for the selected ADC regular channel its corresponding rank in the sequencer and its sample time.
  */
  sConfig.Channel = ADC_CHANNEL_1;
  sConfig.Rank = 1;
  sConfig.SamplingTime = ADC_SAMPLETIME_3CYCLES;
  if (HAL_ADC_ConfigChannel(&hadc1, &sConfig) != HAL_OK)
  {
    Error_Handler();
  }

}

static void MX_I2C1_Init(void)
{

  hi2c1.Instance = I2C1;
  hi2c1.Init.ClockSpeed = 100000;
  hi2c1.Init.DutyCycle = I2C_DUTYCYCLE_2;
  hi2c1.Init.OwnAddress1 = 0;
  hi2c1.Init.AddressingMode = I2C_ADDRESSINGMODE_7BIT;
  hi2c1.Init.DualAddressMode = I2C_DUALADDRESS_DISABLE;
  hi2c1.Init.OwnAddress2 = 0;
  hi2c1.Init.GeneralCallMode = I2C_GENERALCALL_DISABLE;
  hi2c1.Init.NoStretchMode = I2C_NOSTRETCH_DISABLE;
  if (HAL_I2C_Init(&hi2c1) != HAL_OK)
  {
    Error_Handler();
  }

}

static void MX_SPI1_Init(void)
{

  /* SPI1 parameter configuration*/
  hspi1.Instance = SPI1;
  hspi1.Init.Mode = SPI_MODE_MASTER;
  hspi1.Init.Direction = SPI_DIRECTION_2LINES;
  hspi1.Init.DataSize = SPI_DATASIZE_8BIT;
  hspi1.Init.CLKPolarity = SPI_POLARITY_LOW;
  hspi1.Init.CLKPhase = SPI_PHASE_1EDGE;
  hspi1.Init.NSS = SPI_NSS_SOFT;
  hspi1.Init.BaudRatePrescaler = SPI_BAUDRATEPRESCALER_2;
  hspi1.Init.FirstBit = SPI_FIRSTBIT_MSB;
  hspi1.Init.TIMode = SPI_TIMODE_DISABLE;
  hspi1.Init.CRCCalculation = SPI_CRCCALCULATION_DISABLE;
  hspi1.Init.CRCPolynomial = 10;
  if (HAL_SPI_Init(&hspi1) != HAL_OK)
  {
    Error_Handler();
  }

}

static void MX_TIM1_Init(void)
{

  TIM_MasterConfigTypeDef sMasterConfig = {0};
  TIM_OC_InitTypeDef sConfigOC = {0};
  TIM_BreakDeadTimeConfigTypeDef sBreakDeadTimeConfig = {0};

  htim1.Instance = TIM1;
  htim1.Init.Prescaler = 0;
  htim1.Init.CounterMode = TIM_COUNTERMODE_UP;
  htim1.Init.Period = 124;
  htim1.Init.ClockDivision = TIM_CLOCKDIVISION_DIV1;
  htim1.Init.RepetitionCounter = 0;
  htim1.Init.AutoReloadPreload = TIM_AUTORELOAD_PRELOAD_ENABLE;
  if (HAL_TIM_PWM_Init(&htim1) != HAL_OK)
  {
    Error_Handler();
  }
  sMasterConfig.MasterOutputTrigger = TIM_TRGO_RESET;
  sMasterConfig.MasterSlaveMode = TIM_MASTERSLAVEMODE_DISABLE;
  if (HAL_TIMEx_MasterConfigSynchronization(&htim1, &sMasterConfig) != HAL_OK)
  {
    Error_Handler();
  }
  sConfigOC.OCMode = TIM_OCMODE_PWM1;
  sConfigOC.Pulse = 0;
  sConfigOC.OCPolarity = TIM_OCPOLARITY_HIGH;
  sConfigOC.OCNPolarity = TIM_OCNPOLARITY_HIGH;
  sConfigOC.OCFastMode = TIM_OCFAST_DISABLE;
  sConfigOC.OCIdleState = TIM_OCIDLESTATE_RESET;
  sConfigOC.OCNIdleState = TIM_OCNIDLESTATE_RESET;
  if (HAL_TIM_PWM_ConfigChannel(&htim1, &sConfigOC, TIM_CHANNEL_1) != HAL_OK)
  {
    Error_Handler();
  }
  sBreakDeadTimeConfig.OffStateRunMode = TIM_OSSR_DISABLE;
  sBreakDeadTimeConfig.OffStateIDLEMode = TIM_OSSI_DISABLE;
  sBreakDeadTimeConfig.LockLevel = TIM_LOCKLEVEL_OFF;
  sBreakDeadTimeConfig.DeadTime = 0;
  sBreakDeadTimeConfig.BreakState = TIM_BREAK_DISABLE;
  sBreakDeadTimeConfig.BreakPolarity = TIM_BREAKPOLARITY_HIGH;
  sBreakDeadTimeConfig.AutomaticOutput = TIM_AUTOMATICOUTPUT_DISABLE;
  if (HAL_TIMEx_ConfigBreakDeadTime(&htim1, &sBreakDeadTimeConfig) != HAL_OK)
  {
    Error_Handler();
  }
  HAL_TIM_MspPostInit(&htim1);

}

static void MX_TIM2_Init(void)
{

  TIM_ClockConfigTypeDef sClockSourceConfig = {0};
  TIM_MasterConfigTypeDef sMasterConfig = {0};
  TIM_IC_InitTypeDef sConfigIC = {0};

  htim2.Instance = TIM2;
  htim2.Init.Prescaler = 0;
  htim2.Init.CounterMode = TIM_COUNTERMODE_UP;
  htim2.Init.Period = 65535;
  htim2.Init.ClockDivision = TIM_CLOCKDIVISION_DIV1;
  htim2.Init.AutoReloadPreload = TIM_AUTORELOAD_PRELOAD_DISABLE;
  if (HAL_TIM_Base_Init(&htim2) != HAL_OK)
  {
    Error_Handler();
  }
  sClockSourceConfig.ClockSource = TIM_CLOCKSOURCE_INTERNAL;
  if (HAL_TIM_ConfigClockSource(&htim2, &sClockSourceConfig) != HAL_OK)
  {
    Error_Handler();
  }
  if (HAL_TIM_IC_Init(&htim2) != HAL_OK)
  {
    Error_Handler();
  }
  sMasterConfig.MasterOutputTrigger = TIM_TRGO_RESET;
  sMasterConfig.MasterSlaveMode = TIM_MASTERSLAVEMODE_DISABLE;
  if (HAL_TIMEx_MasterConfigSynchronization(&htim2, &sMasterConfig) != HAL_OK)
  {
    Error_Handler();
  }
  sConfigIC.ICPolarity = TIM_INPUTCHANNELPOLARITY_RISING;
  sConfigIC.ICSelection = TIM_ICSELECTION_DIRECTTI;
  sConfigIC.ICPrescaler = TIM_ICPSC_DIV1;
  sConfigIC.ICFilter = 0;
  if (HAL_TIM_IC_ConfigChannel(&htim2, &sConfigIC, TIM_CHANNEL_1) != HAL_OK)
  {
    Error_Handler();
  }

}

static void MX_TIM3_Init(void)
{

  TIM_ClockConfigTypeDef sClockSourceConfig = {0};
  TIM_MasterConfigTypeDef sMasterConfig = {0};

  htim3.Instance = TIM3;
  htim3.Init.Prescaler = 49;
  htim3.Init.CounterMode = TIM_COUNTERMODE_UP;
  htim3.Init.Period = 49999;
  htim3.Init.ClockDivision = TIM_CLOCKDIVISION_DIV1;
  htim3.Init.AutoReloadPreload = TIM_AUTORELOAD_PRELOAD_DISABLE;
  if (HAL_TIM_Base_Init(&htim3) != HAL_OK)
  {
    Error_Handler();
  }
  sClockSourceConfig.ClockSource = TIM_CLOCKSOURCE_INTERNAL;
  if (HAL_TIM_ConfigClockSource(&htim3, &sClockSourceConfig) != HAL_OK)
  {
    Error_Handler();
  }
  sMasterConfig.MasterOutputTrigger = TIM_TRGO_RESET;
  sMasterConfig.MasterSlaveMode = TIM_MASTERSLAVEMODE_DISABLE;
  if (HAL_TIMEx_MasterConfigSynchronization(&htim3, &sMasterConfig) != HAL_OK)
  {
    Error_Handler();
  }

}

static void MX_USART2_UART_Init(void)
{

  huart2.Instance = USART2;
  huart2.Init.BaudRate = 115200;
  huart2.Init.WordLength = UART_WORDLENGTH_8B;
  huart2.Init.StopBits = UART_STOPBITS_1;
  huart2.Init.Parity = UART_PARITY_NONE;
  huart2.Init.Mode = UART_MODE_TX_RX;
  huart2.Init.HwFlowCtl = UART_HWCONTROL_NONE;
  huart2.Init.OverSampling = UART_OVERSAMPLING_16;
  if (HAL_UART_Init(&huart2) != HAL_OK)
  {
    Error_Handler();
  }

}

static void MX_USART3_UART_Init(void)
{

  huart3.Instance = USART3;
  huart3.Init.BaudRate = 115200;
  huart3.Init.WordLength = UART_WORDLENGTH_8B;
  huart3.Init.StopBits = UART_STOPBITS_1;
  huart3.Init.Parity = UART_PARITY_NONE;
  huart3.Init.Mode = UART_MODE_TX_RX;
  huart3.Init.HwFlowCtl = UART_HWCONTROL_NONE;
  huart3.Init.OverSampling = UART_OVERSAMPLING_16;
  if (HAL_UART_Init(&huart3) != HAL_OK)
  {
    Error_Handler();
  }

}

static void MX_DMA_Init(void)
{

  /* DMA controller clock enable */
  __HAL_RCC_DMA2_CLK_ENABLE();
  __HAL_RCC_DMA1_CLK_ENABLE();

  /* DMA interrupt init */
  /* DMA1_Stream3_IRQn interrupt configuration */
  HAL_NVIC_SetPriority(DMA1_Stream3_IRQn, 5, 0);
  HAL_NVIC_EnableIRQ(DMA1_Stream3_IRQn);
  /* DMA2_Stream0_IRQn interrupt configuration */
  HAL_NVIC_SetPriority(DMA2_Stream0_IRQn, 5, 0);
  HAL_NVIC_EnableIRQ(DMA2_Stream0_IRQn);
  /* DMA2_Stream1_IRQn interrupt configuration */
  HAL_NVIC_SetPriority(DMA2_Stream1_IRQn, 5, 0);
  HAL_NVIC_EnableIRQ(DMA2_Stream1_IRQn);

}

static void MX_GPIO_Init(void)
{
  GPIO_InitTypeDef GPIO_InitStruct = {0};

  /* GPIO Ports Clock Enable */
  __HAL_RCC_GPIOE_CLK_ENABLE();
  __HAL_RCC_GPIOC_CLK_ENABLE();
  __HAL_RCC_GPIOH_CLK_ENABLE();
  __HAL_RCC_GPIOA_CLK_ENABLE();
  __HAL_RCC_GPIOB_CLK_ENABLE();
  __HAL_RCC_GPIOD_CLK_ENABLE();

  /*Configure GPIO pin Output Level */
  HAL_GPIO_WritePin(CS_I2C_SPI_GPIO_Port, CS_I2C_SPI_Pin, GPIO_PIN_RESET);

  /*Configure GPIO pin Output Level */
  HAL_GPIO_WritePin(OTG_FS_PowerSwitchOn_GPIO_Port, OTG_FS_PowerSwitchOn_Pin, GPIO_PIN_SET);

  /*Configure GPIO pin Output Level */
  HAL_GPIO_WritePin(CS_pin_GPIO_Port, CS_pin_Pin, GPIO_PIN_RESET);

  /*Configure GPIO pin Output Level */
  HAL_GPIO_WritePin(Ultrasonic_Trigger_GPIO_Port, Ultrasonic_Trigger_Pin, GPIO_PIN_RESET);

  /*Configure GPIO pin Output Level */
  HAL_GPIO_WritePin(GPIOD, LD4_Pin|LD3_Pin|LD5_Pin|LD6_Pin
                          |Audio_RST_Pin, GPIO_PIN_RESET);

  /*Configure GPIO pin : CS_I2C_SPI_Pin */
  GPIO_InitStruct.Pin = CS_I2C_SPI_Pin;
  GPIO_InitStruct.Mode = GPIO_MODE_OUTPUT_PP;
  GPIO_InitStruct.Pull = GPIO_NOPULL;
  GPIO_InitStruct.Speed = GPIO_SPEED_FREQ_LOW;
  HAL_GPIO_Init(CS_I2C_SPI_GPIO_Port, &GPIO_InitStruct);

  /*Configure GPIO pins : OTG_FS_PowerSwitchOn_Pin CS_pin_Pin */
  GPIO_InitStruct.Pin = OTG_FS_PowerSwitchOn_Pin|CS_pin_Pin;
  GPIO_InitStruct.Mode = GPIO_MODE_OUTPUT_PP;
  GPIO_InitStruct.Pull = GPIO_NOPULL;
  GPIO_InitStruct.Speed = GPIO_SPEED_FREQ_LOW;
  HAL_GPIO_Init(GPIOC, &GPIO_InitStruct);

  /*Configure GPIO pin : PDM_OUT_Pin */
  GPIO_InitStruct.Pin = PDM_OUT_Pin;
  GPIO_InitStruct.Mode = GPIO_MODE_AF_PP;
  GPIO_InitStruct.Pull = GPIO_NOPULL;
  GPIO_InitStruct.Speed = GPIO_SPEED_FREQ_LOW;
  GPIO_InitStruct.Alternate = GPIO_AF5_SPI2;
  HAL_GPIO_Init(PDM_OUT_GPIO_Port, &GPIO_InitStruct);

  /*Configure GPIO pin : B1_Pin */
  GPIO_InitStruct.Pin = B1_Pin;
  GPIO_InitStruct.Mode = GPIO_MODE_IT_RISING;
  GPIO_InitStruct.Pull = GPIO_NOPULL;
  HAL_GPIO_Init(B1_GPIO_Port, &GPIO_InitStruct);

  /*Configure GPIO pin : I2S3_WS_Pin */
  GPIO_InitStruct.Pin = I2S3_WS_Pin;
  GPIO_InitStruct.Mode = GPIO_MODE_AF_PP;
  GPIO_InitStruct.Pull = GPIO_NOPULL;
  GPIO_InitStruct.Speed = GPIO_SPEED_FREQ_LOW;
  GPIO_InitStruct.Alternate = GPIO_AF6_SPI3;
  HAL_GPIO_Init(I2S3_WS_GPIO_Port, &GPIO_InitStruct);

  /*Configure GPIO pin : BOOT1_Pin */
  GPIO_InitStruct.Pin = BOOT1_Pin;
  GPIO_InitStruct.Mode = GPIO_MODE_INPUT;
  GPIO_InitStruct.Pull = GPIO_NOPULL;
  HAL_GPIO_Init(BOOT1_GPIO_Port, &GPIO_InitStruct);

  /*Configure GPIO pin : DHT11_input_Pin */
  GPIO_InitStruct.Pin = DHT11_input_Pin;
  GPIO_InitStruct.Mode = GPIO_MODE_INPUT;
  GPIO_InitStruct.Pull = GPIO_NOPULL;
  HAL_GPIO_Init(DHT11_input_GPIO_Port, &GPIO_InitStruct);

  /*Configure GPIO pin : CLK_IN_Pin */
  GPIO_InitStruct.Pin = CLK_IN_Pin;
  GPIO_InitStruct.Mode = GPIO_MODE_AF_PP;
  GPIO_InitStruct.Pull = GPIO_NOPULL;
  GPIO_InitStruct.Speed = GPIO_SPEED_FREQ_LOW;
  GPIO_InitStruct.Alternate = GPIO_AF5_SPI2;
  HAL_GPIO_Init(CLK_IN_GPIO_Port, &GPIO_InitStruct);

  /*Configure GPIO pin : Ultrasonic_Trigger_Pin */
  GPIO_InitStruct.Pin = Ultrasonic_Trigger_Pin;
  GPIO_InitStruct.Mode = GPIO_MODE_OUTPUT_PP;
  GPIO_InitStruct.Pull = GPIO_NOPULL;
  GPIO_InitStruct.Speed = GPIO_SPEED_FREQ_LOW;
  HAL_GPIO_Init(Ultrasonic_Trigger_GPIO_Port, &GPIO_InitStruct);

  /*Configure GPIO pins : LD4_Pin LD3_Pin LD5_Pin LD6_Pin
                           Audio_RST_Pin */
  GPIO_InitStruct.Pin = LD4_Pin|LD3_Pin|LD5_Pin|LD6_Pin
                          |Audio_RST_Pin;
  GPIO_InitStruct.Mode = GPIO_MODE_OUTPUT_PP;
  GPIO_InitStruct.Pull = GPIO_NOPULL;
  GPIO_InitStruct.Speed = GPIO_SPEED_FREQ_LOW;
  HAL_GPIO_Init(GPIOD, &GPIO_InitStruct);

  /*Configure GPIO pins : I2S3_MCK_Pin I2S3_SCK_Pin I2S3_SD_Pin */
  GPIO_InitStruct.Pin = I2S3_MCK_Pin|I2S3_SCK_Pin|I2S3_SD_Pin;
  GPIO_InitStruct.Mode = GPIO_MODE_AF_PP;
  GPIO_InitStruct.Pull = GPIO_NOPULL;
  GPIO_InitStruct.Speed = GPIO_SPEED_FREQ_LOW;
  GPIO_InitStruct.Alternate = GPIO_AF6_SPI3;
  HAL_GPIO_Init(GPIOC, &GPIO_InitStruct);

  /*Configure GPIO pins : Right_Button_Pin Center_Button_Pin Right_ButtonD3_Pin */
  GPIO_InitStruct.Pin = Right_Button_Pin|Center_Button_Pin|Right_ButtonD3_Pin;
  GPIO_InitStruct.Mode = GPIO_MODE_IT_RISING;
  GPIO_InitStruct.Pull = GPIO_PULLUP;
  HAL_GPIO_Init(GPIOD, &GPIO_InitStruct);

  /*Configure GPIO pin : OTG_FS_OverCurrent_Pin */
  GPIO_InitStruct.Pin = OTG_FS_OverCurrent_Pin;
  GPIO_InitStruct.Mode = GPIO_MODE_INPUT;
  GPIO_InitStruct.Pull = GPIO_NOPULL;
  HAL_GPIO_Init(OTG_FS_OverCurrent_GPIO_Port, &GPIO_InitStruct);

  /* EXTI interrupt init*/
  HAL_NVIC_SetPriority(EXTI1_IRQn, 5, 0);
  HAL_NVIC_EnableIRQ(EXTI1_IRQn);

  HAL_NVIC_SetPriority(EXTI2_IRQn, 5, 0);
  HAL_NVIC_EnableIRQ(EXTI2_IRQn);

  HAL_NVIC_SetPriority(EXTI3_IRQn, 5, 0);
  HAL_NVIC_EnableIRQ(EXTI3_IRQn);

}

void StartMonitor(void *argument)
{
  /* USER CODE BEGIN StartMonitor */
  /* Infinite loop */
  for(;;)
  {

	  AO_ReportStack(&broker.super,    "Broker");
	  AO_ReportQueue(&broker.super, "Broker");

	  AO_ReportStack(&distance.super,  "Distance");
	  AO_ReportQueue(&distance.super, "Distance");

	  AO_ReportStack(&envmonitor.super,"EnvMonitor");
	  AO_ReportQueue(&envmonitor.super, "EnvMonitor");

	  AO_ReportStack(&logger.super,    "Logger");
	  AO_ReportQueue(&logger.super, "Logger");

	  AO_ReportStack(&display.super,  "Display");
	  AO_ReportQueue(&display.super, "Display");

  }
  /* USER CODE END StartMonitor */
}

void Error_Handler(void)
{
  __disable_irq();
  while (1)
  {
  }
}
